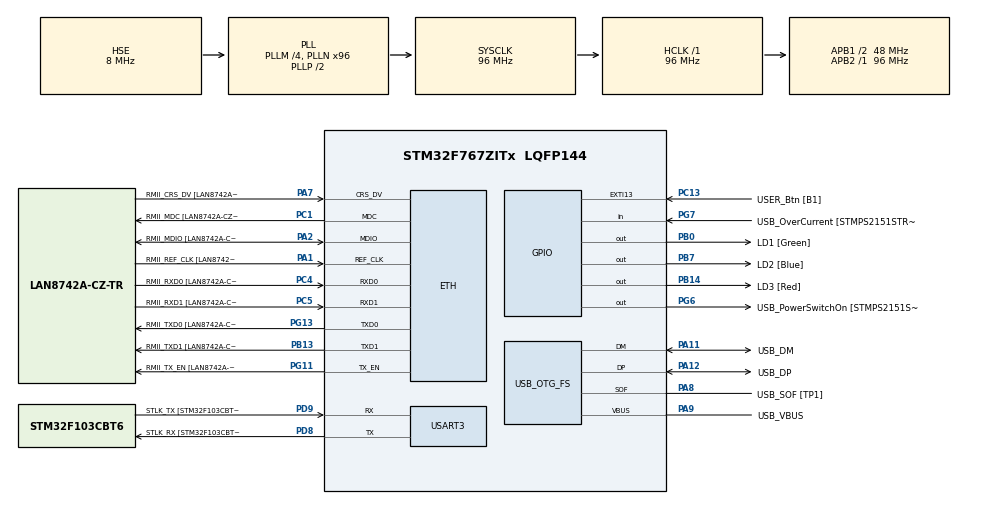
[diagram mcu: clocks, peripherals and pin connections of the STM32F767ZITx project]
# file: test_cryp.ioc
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ETH.MediaInterface=HAL_ETH_RMII_MODE
ETH.PHY_Name=LAN8742A_PHY_ADDRESS
ETH.PHY_Value=0
ETH.PhyAddress=0
Mcu.Family=STM32F7
Mcu.Name=STM32F767ZITx
Mcu.Package=LQFP144
NVIC.PriorityGroup=NVIC_PRIORITYGROUP_4
PA1.GPIO_Label=RMII_REF_CLK [LAN8742A-CZ-TR_REFCLK0]
PA1.Mode=RMII
PA1.Signal=ETH_REF_CLK
PA10.GPIO_Label=USB_ID
PA10.Signal=USB_OTG_FS_ID
PA11.GPIO_Label=USB_DM
PA11.Mode=Device_Only
PA11.Signal=USB_OTG_FS_DM
PA12.GPIO_Label=USB_DP
PA12.Mode=Device_Only
PA12.Signal=USB_OTG_FS_DP
PA13.GPIO_Label=TMS
PA13.Mode=Serial_Wire
PA13.Signal=SYS_JTMS-SWDIO
PA14.GPIO_Label=TCK
PA14.Mode=Serial_Wire
PA14.Signal=SYS_JTCK-SWCLK
PA2.GPIO_Label=RMII_MDIO [LAN8742A-CZ-TR_MDIO]
PA2.Mode=RMII
PA2.Signal=ETH_MDIO
PA7.GPIO_Label=RMII_CRS_DV [LAN8742A-CZ-TR_CRS_DV]
PA7.Mode=RMII
PA7.Signal=ETH_CRS_DV
PA8.GPIO_Label=USB_SOF [TP1]
PA8.Mode=Activate_SOF_FS
PA8.Signal=USB_OTG_FS_SOF
PA9.GPIO_Label=USB_VBUS
PA9.Mode=Activate_VBUS
PA9.Signal=USB_OTG_FS_VBUS
PB0.GPIO_Label=LD1 [Green]
PB0.Signal=GPIO_Output
PB13.GPIO_Label=RMII_TXD1 [LAN8742A-CZ-TR_TXD1]
PB13.Mode=RMII
PB13.Signal=ETH_TXD1
PB14.GPIO_Label=LD3 [Red]
PB14.Signal=GPIO_Output
PB3.GPIO_Label=SWO
PB3.Signal=SYS_JTDO-SWO
PB7.GPIO_Label=LD2 [Blue]
PB7.Signal=GPIO_Output
PC1.GPIO_Label=RMII_MDC [LAN8742A-CZ-TR_MDC]
PC1.Mode=RMII
PC1.Signal=ETH_MDC
PC13.GPIO_Label=USER_Btn [B1]
PC13.Signal=GPXTI13
PC14/OSC32_IN.Mode=LSE-External-Oscillator
PC14/OSC32_IN.Signal=RCC_OSC32_IN
PC15/OSC32_OUT.Mode=LSE-External-Oscillator
PC15/OSC32_OUT.Signal=RCC_OSC32_OUT
PC4.GPIO_Label=RMII_RXD0 [LAN8742A-CZ-TR_RXD0]
PC4.Mode=RMII
PC4.Signal=ETH_RXD0
PC5.GPIO_Label=RMII_RXD1 [LAN8742A-CZ-TR_RXD1]
PC5.Mode=RMII
PC5.Signal=ETH_RXD1
PD8.GPIO_Label=STLK_RX [STM32F103CBT6_PA3]
PD8.Mode=Asynchronous
PD8.Signal=USART3_TX
PD9.GPIO_Label=STLK_TX [STM32F103CBT6_PA2]
PD9.Mode=Asynchronous
PD9.Signal=USART3_RX
PG11.GPIO_Label=RMII_TX_EN [LAN8742A-CZ-TR_TXEN]
PG11.Mode=RMII
PG11.Signal=ETH_TX_EN
PG13.GPIO_Label=RMII_TXD0 [LAN8742A-CZ-TR_TXD0]
PG13.Mode=RMII
PG13.Signal=ETH_TXD0
PG6.GPIO_Label=USB_PowerSwitchOn [STMPS2151STR_EN]
PG6.Signal=GPIO_Output
PG7.GPIO_Label=USB_OverCurrent [STMPS2151STR_FAULT]
PG7.Signal=GPIO_Input
PH0/OSC_IN.GPIO_Label=MCO [STM32F103CBT6_PA8]
PH0/OSC_IN.Mode=HSE-External-Clock-Source
PH0/OSC_IN.Signal=RCC_OSC_IN
PH1/OSC_OUT.Mode=HSE-External-Clock-Source
PH1/OSC_OUT.Signal=RCC_OSC_OUT
ProjectManager.HeapSize=0x200
ProjectManager.StackSize=0x400
ProjectManager.TargetToolchain=STM32CubeIDE
RCC.48MHZClocksFreq_Value=24000000
RCC.AHBFreq_Value=96000000
RCC.APB1CLKDivider=RCC_HCLK_DIV2
RCC.APB1Freq_Value=48000000
RCC.APB1TimFreq_Value=96000000
RCC.APB2Freq_Value=96000000
RCC.APB2TimFreq_Value=96000000
RCC.CortexFreq_Value=96000000
RCC.HCLKFreq_Value=96000000
RCC.HSE_VALUE=8000000
RCC.HSI_VALUE=16000000
RCC.PLLM=4
RCC.PLLMUL=RCC_PLL_MUL9
RCC.PLLN=96
RCC.PLLQ=4
RCC.PRESCALERUSB=RCC_USBCLKSOURCE_PLL_DIV1_5
RCC.SYSCLKFreq_VALUE=96000000
RCC.SYSCLKSource=RCC_SYSCLKSOURCE_PLLCLK
RCC.SYSCLKSourceVirtual=RCC_SYSCLKSOURCE_PLLCLK
RCC.USBFreq_Value=48000000
RCC.VCOOutputFreq_Value=192000000
USART3.VirtualMode-Asynchronous=VM_ASYNC
USB_OTG_FS.VirtualMode=Device_Only
VP_CRC_VS_CRC.Mode=CRC_Activate
board=NUCLEO-F767ZI

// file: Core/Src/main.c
/* USER CODE BEGIN Header */
/**
  ******************************************************************************
  * @file           : main.c
  * @brief          : Main program body
  ******************************************************************************
  * @attention
  *
  * Copyright (c) 2024 STMicroelectronics.
  * All rights reserved.
  *
  * This software is licensed under terms that can be found in the LICENSE file
  * in the root directory of this software component.
  * If no LICENSE file comes with this software, it is provided AS-IS.
  *
  ******************************************************************************
  */
/* USER CODE END Header */
#include "crypto.h"
#include "main.h"
#include "string.h"

#if defined ( __ICCARM__ ) /*!< IAR Compiler */
#pragma location=0x2007c000
ETH_DMADescTypeDef  DMARxDscrTab[ETH_RX_DESC_CNT]; /* Ethernet Rx DMA Descriptors */
#pragma location=0x2007c0a0
ETH_DMADescTypeDef  DMATxDscrTab[ETH_TX_DESC_CNT]; /* Ethernet Tx DMA Descriptors */

#elif defined ( __CC_ARM )  /* MDK ARM Compiler */

__attribute__((at(0x2007c000))) ETH_DMADescTypeDef  DMARxDscrTab[ETH_RX_DESC_CNT]; /* Ethernet Rx DMA Descriptors */
__attribute__((at(0x2007c0a0))) ETH_DMADescTypeDef  DMATxDscrTab[ETH_TX_DESC_CNT]; /* Ethernet Tx DMA Descriptors */

#elif defined ( __GNUC__ ) /* GNU Compiler */

ETH_DMADescTypeDef DMARxDscrTab[ETH_RX_DESC_CNT] __attribute__((section(".RxDecripSection"))); /* Ethernet Rx DMA Descriptors */
ETH_DMADescTypeDef DMATxDscrTab[ETH_TX_DESC_CNT] __attribute__((section(".TxDecripSection")));   /* Ethernet Tx DMA Descriptors */
#endif

ETH_TxPacketConfig TxConfig;

CRC_HandleTypeDef hcrc;

ETH_HandleTypeDef heth;

UART_HandleTypeDef huart3;

PCD_HandleTypeDef hpcd_USB_OTG_FS;

/* USER CODE BEGIN PV */
typedef enum {FAILED = 0, PASSED = !FAILED} TestStatus;
/* Private define ------------------------------------------------------------*/
/* NIST vectors examples for CCM are taken from:
	"Recommendation for Block Cipher Modes of Operation:
	The CCM Mode for Authentication and Confidentiality"
	Available at:
	http://csrc.nist.gov/publications/nistpubs/800-38C/SP800-38C_updated-July20_2007.pdf
	base url:
	http://csrc.nist.gov/publications/PubsSPs.html
*/

/* length of NIST tag test vector of example */
#define TAG_LENGTH	4
/* length of NIST plain text test vector of example */
#define PLAINTEXT_LENGTH	4
/* length of NIST cipher text test vector of example */
#define CIPHER_TEXT_LENGTH	PLAINTEXT_LENGTH + TAG_LENGTH

/* Private macro -------------------------------------------------------------*/
/* Private variables ---------------------------------------------------------*/

/* Header message, will be authenticated but not encrypted */
const uint8_t HeaderMessage[] =
{
  0x00,0x01,0x02,0x03,0x04,0x05,0x06,0x07
};

uint32_t HeaderLength = sizeof (HeaderMessage) ;

/* string length only, without '\0' end of string marker */

/* Payload message, will be authenticated and encrypted */
const uint8_t InputMessage[] =
{
  0x20,0x21,0x22,0x23
};

/* string length only, without '\0' end of string marker */
uint32_t InputLength = sizeof (InputMessage) ;

/* Key to be used for AES encryption/decryption */
uint8_t Key[CRL_AES128_KEY] =
{
  0x40,0x41,0x42,0x43,0x44,0x45,0x46,0x47,
  0x48,0x49,0x4a,0x4b,0x4c,0x4d,0x4e,0x4f
};

/* Initialization Vector, used only in non-ECB modes */
const uint8_t Expected_Ciphertext[CIPHER_TEXT_LENGTH] =
{
  0x71,0x61,0x02,0x5b,0x4d,0xac,0x25,0x5d
};

uint8_t IV[] =
 {
   0x10,0x11,0x12,0x13,0x14,0x15,0x16
 };

/* NIST example 1 ciphertext vector: in encryption we expect this vector as result */
/* Buffer to store the output data and the authentication TAG */
uint8_t OutputMessage[64];

/* Length of the Authentication TAG */
int32_t AuthenticationTAGLength = 0;

/* Size of the output data */
int32_t OutputMessageLength = 0;
/* USER CODE END PV */

void SystemClock_Config(void);
static void MX_GPIO_Init(void);
static void MX_ETH_Init(void);
static void MX_USART3_UART_Init(void);
static void MX_USB_OTG_FS_PCD_Init(void);
static void MX_CRC_Init(void);
/* USER CODE BEGIN PFP */
int32_t AES_CCM_Encrypt(uint8_t*  HeaderMessage,
                        uint32_t  HeaderMessageLength,
                        uint8_t*  InputMessage,
                        uint32_t  InputMessageLength,
                        uint8_t  *AES128_Key,
                        uint8_t  *InitializationVector,
                        uint32_t  IvLength,
                        uint8_t  *OutputMessage,
                        int32_t *OutputMessageLength,
                        int32_t *AuthenticationTAGLength
                        );

int32_t AES_CCM_Decrypt(uint8_t*  HeaderMessage,
                        uint32_t  HeaderMessageLength,
                        uint8_t*  InputMessage,
                        uint32_t  InputMessageLength,
                        uint8_t  *AES128_Key,
                        uint8_t  *InitializationVector,
                        uint32_t  IvLength,
                        uint8_t  *OutputMessage,
                        int32_t *OutputMessageLength,
                        int32_t  AuthenticationTAGLength);

TestStatus Buffercmp(const uint8_t* pBuffer,
                     uint8_t* pBuffer1,
                     uint16_t BufferLength);
/* USER CODE END PFP */

int main(void)
{

  /* USER CODE BEGIN 1 */
	  int32_t status = AES_SUCCESS;
  /* USER CODE END 1 */

  /* MCU Configuration--------------------------------------------------------*/

  /* Reset of all peripherals, Initializes the Flash interface and the Systick. */
  HAL_Init();

  /* Configure the system clock */
  SystemClock_Config();

  /* Initialize all configured peripherals */
  MX_GPIO_Init();
  MX_ETH_Init();
  MX_USART3_UART_Init();
  MX_USB_OTG_FS_PCD_Init();
  MX_CRC_Init();
  /* USER CODE BEGIN 2 */
  HAL_UART_Transmit(&huart3,"TEST\n",4,1000);
  uint8_t buffer[4];
  HAL_UART_Receive(&huart3,buffer,4,30000);
  /* Encrypt DATA with AES in CCM mode and generate authentication TAG */
   status = AES_CCM_Encrypt( (uint8_t *) HeaderMessage, HeaderLength , (uint8_t *) InputMessage,
                            InputLength, Key, IV, sizeof(IV), OutputMessage,
                          &OutputMessageLength, &AuthenticationTAGLength);
   if(status == AES_SUCCESS)
   {

     if (Buffercmp(Expected_Ciphertext, OutputMessage, CIPHER_TEXT_LENGTH) == PASSED)
     {
        /* add application traitment in case of AES CCM encryption is passed */
     }
     else
     {
       /* Turn off the green led in case of AES CCM encryption is failed */
       HAL_GPIO_WritePin(GPIOA, GPIO_PIN_5, GPIO_PIN_RESET);
       Error_Handler();

     }
      }
   else
   {

       /* In case of encryption/decryption not success possible values of status:
      * AES_ERR_BAD_OPERATION, AES_ERR_BAD_CONTEXT, AES_ERR_BAD_PARAMETER
      */

       /* Turn off the green led in case of encryption/decryption not success */
       HAL_GPIO_WritePin(GPIOA, GPIO_PIN_5, GPIO_PIN_RESET);
       Error_Handler();

   }

     /* Decrypt DATA with AES in CCM mode and check the authentication TAG */
     status = AES_CCM_Decrypt( (uint8_t *) HeaderMessage, sizeof(HeaderMessage), (uint8_t *) OutputMessage,
                              OutputMessageLength, Key, IV, sizeof(IV), OutputMessage,
                            &OutputMessageLength, AuthenticationTAGLength);
     if(status == AUTHENTICATION_SUCCESSFUL)
     {
       /* Add application traitment in case of AES CCM authentication is successful */
     }
     else
     {
      /*  In case of AES CCM authentication is failed possible values
        *  of status:
        * AES_ERR_BAD_OPERATION, AES_ERR_BAD_CONTEXT, AES_ERR_BAD_PARAMETER,
        * AUTHENTICATION_FAILED
        */

       /* Turn off the green led in case of AES CCM authentication is failed */
       HAL_GPIO_WritePin(GPIOA, GPIO_PIN_5, GPIO_PIN_RESET);
       Error_Handler();

     }

   /* Turn on the green led in an infinite loop in case of AES CCM operations are succssfuls*/
   HAL_GPIO_WritePin(GPIOA, GPIO_PIN_5, GPIO_PIN_SET);
  /* USER CODE END 2 */

  /* Infinite loop */
  while (1)
  {

  }
}

void SystemClock_Config(void)
{
  RCC_OscInitTypeDef RCC_OscInitStruct = {0};
  RCC_ClkInitTypeDef RCC_ClkInitStruct = {0};

  /** Configure LSE Drive Capability
  */
  HAL_PWR_EnableBkUpAccess();

  /** Configure the main internal regulator output voltage
  */
  __HAL_RCC_PWR_CLK_ENABLE();
  __HAL_PWR_VOLTAGESCALING_CONFIG(PWR_REGULATOR_VOLTAGE_SCALE3);

  /** Initializes the RCC Oscillators according to the specified parameters
  * in the RCC_OscInitTypeDef structure.
  */
  RCC_OscInitStruct.OscillatorType = RCC_OSCILLATORTYPE_HSE;
  RCC_OscInitStruct.HSEState = RCC_HSE_BYPASS;
  RCC_OscInitStruct.PLL.PLLState = RCC_PLL_ON;
  RCC_OscInitStruct.PLL.PLLSource = RCC_PLLSOURCE_HSE;
  RCC_OscInitStruct.PLL.PLLM = 4;
  RCC_OscInitStruct.PLL.PLLN = 96;
  RCC_OscInitStruct.PLL.PLLP = RCC_PLLP_DIV2;
  RCC_OscInitStruct.PLL.PLLQ = 4;
  RCC_OscInitStruct.PLL.PLLR = 2;
  if (HAL_RCC_OscConfig(&RCC_OscInitStruct) != HAL_OK)
  {
    Error_Handler();
  }

  /** Activate the Over-Drive mode
  */
  if (HAL_PWREx_EnableOverDrive() != HAL_OK)
  {
    Error_Handler();
  }

  /** Initializes the CPU, AHB and APB buses clocks
  */
  RCC_ClkInitStruct.ClockType = RCC_CLOCKTYPE_HCLK|RCC_CLOCKTYPE_SYSCLK
                              |RCC_CLOCKTYPE_PCLK1|RCC_CLOCKTYPE_PCLK2;
  RCC_ClkInitStruct.SYSCLKSource = RCC_SYSCLKSOURCE_PLLCLK;
  RCC_ClkInitStruct.AHBCLKDivider = RCC_SYSCLK_DIV1;
  RCC_ClkInitStruct.APB1CLKDivider = RCC_HCLK_DIV2;
  RCC_ClkInitStruct.APB2CLKDivider = RCC_HCLK_DIV1;

  if (HAL_RCC_ClockConfig(&RCC_ClkInitStruct, FLASH_LATENCY_3) != HAL_OK)
  {
    Error_Handler();
  }
}

static void MX_CRC_Init(void)
{

  hcrc.Instance = CRC;
  hcrc.Init.DefaultPolynomialUse = DEFAULT_POLYNOMIAL_ENABLE;
  hcrc.Init.DefaultInitValueUse = DEFAULT_INIT_VALUE_ENABLE;
  hcrc.Init.InputDataInversionMode = CRC_INPUTDATA_INVERSION_NONE;
  hcrc.Init.OutputDataInversionMode = CRC_OUTPUTDATA_INVERSION_DISABLE;
  hcrc.InputDataFormat = CRC_INPUTDATA_FORMAT_BYTES;
  if (HAL_CRC_Init(&hcrc) != HAL_OK)
  {
    Error_Handler();
  }

}

static void MX_ETH_Init(void)
{

   static uint8_t MACAddr[6];

  heth.Instance = ETH;
  MACAddr[0] = 0x00;
  MACAddr[1] = 0x80;
  MACAddr[2] = 0xE1;
  MACAddr[3] = 0x00;
  MACAddr[4] = 0x00;
  MACAddr[5] = 0x00;
  heth.Init.MACAddr = &MACAddr[0];
  heth.Init.MediaInterface = HAL_ETH_RMII_MODE;
  heth.Init.TxDesc = DMATxDscrTab;
  heth.Init.RxDesc = DMARxDscrTab;
  heth.Init.RxBuffLen = 1524;

  if (HAL_ETH_Init(&heth) != HAL_OK)
  {
    Error_Handler();
  }

  memset(&TxConfig, 0 , sizeof(ETH_TxPacketConfig));
  TxConfig.Attributes = ETH_TX_PACKETS_FEATURES_CSUM | ETH_TX_PACKETS_FEATURES_CRCPAD;
  TxConfig.ChecksumCtrl = ETH_CHECKSUM_IPHDR_PAYLOAD_INSERT_PHDR_CALC;
  TxConfig.CRCPadCtrl = ETH_CRC_PAD_INSERT;

}

static void MX_USART3_UART_Init(void)
{

  huart3.Instance = USART3;
  huart3.Init.BaudRate = 115200;
  huart3.Init.WordLength = UART_WORDLENGTH_8B;
  huart3.Init.StopBits = UART_STOPBITS_1;
  huart3.Init.Parity = UART_PARITY_NONE;
  huart3.Init.Mode = UART_MODE_TX_RX;
  huart3.Init.HwFlowCtl = UART_HWCONTROL_NONE;
  huart3.Init.OverSampling = UART_OVERSAMPLING_16;
  huart3.Init.OneBitSampling = UART_ONE_BIT_SAMPLE_DISABLE;
  huart3.AdvancedInit.AdvFeatureInit = UART_ADVFEATURE_NO_INIT;
  if (HAL_UART_Init(&huart3) != HAL_OK)
  {
    Error_Handler();
  }

}

static void MX_USB_OTG_FS_PCD_Init(void)
{

  hpcd_USB_OTG_FS.Instance = USB_OTG_FS;
  hpcd_USB_OTG_FS.Init.dev_endpoints = 6;
  hpcd_USB_OTG_FS.Init.speed = PCD_SPEED_FULL;
  hpcd_USB_OTG_FS.Init.dma_enable = DISABLE;
  hpcd_USB_OTG_FS.Init.phy_itface = PCD_PHY_EMBEDDED;
  hpcd_USB_OTG_FS.Init.Sof_enable = ENABLE;
  hpcd_USB_OTG_FS.Init.low_power_enable = DISABLE;
  hpcd_USB_OTG_FS.Init.lpm_enable = DISABLE;
  hpcd_USB_OTG_FS.Init.vbus_sensing_enable = ENABLE;
  hpcd_USB_OTG_FS.Init.use_dedicated_ep1 = DISABLE;
  if (HAL_PCD_Init(&hpcd_USB_OTG_FS) != HAL_OK)
  {
    Error_Handler();
  }

}

static void MX_GPIO_Init(void)
{
  GPIO_InitTypeDef GPIO_InitStruct = {0};

  /* GPIO Ports Clock Enable */
  __HAL_RCC_GPIOC_CLK_ENABLE();
  __HAL_RCC_GPIOH_CLK_ENABLE();
  __HAL_RCC_GPIOA_CLK_ENABLE();
  __HAL_RCC_GPIOB_CLK_ENABLE();
  __HAL_RCC_GPIOD_CLK_ENABLE();
  __HAL_RCC_GPIOG_CLK_ENABLE();

  /*Configure GPIO pin Output Level */
  HAL_GPIO_WritePin(GPIOB, LD1_Pin|LD3_Pin|LD2_Pin, GPIO_PIN_RESET);

  /*Configure GPIO pin Output Level */
  HAL_GPIO_WritePin(USB_PowerSwitchOn_GPIO_Port, USB_PowerSwitchOn_Pin, GPIO_PIN_RESET);

  /*Configure GPIO pin : USER_Btn_Pin */
  GPIO_InitStruct.Pin = USER_Btn_Pin;
  GPIO_InitStruct.Mode = GPIO_MODE_IT_RISING;
  GPIO_InitStruct.Pull = GPIO_NOPULL;
  HAL_GPIO_Init(USER_Btn_GPIO_Port, &GPIO_InitStruct);

  /*Configure GPIO pins : LD1_Pin LD3_Pin LD2_Pin */
  GPIO_InitStruct.Pin = LD1_Pin|LD3_Pin|LD2_Pin;
  GPIO_InitStruct.Mode = GPIO_MODE_OUTPUT_PP;
  GPIO_InitStruct.Pull = GPIO_NOPULL;
  GPIO_InitStruct.Speed = GPIO_SPEED_FREQ_LOW;
  HAL_GPIO_Init(GPIOB, &GPIO_InitStruct);

  /*Configure GPIO pin : USB_PowerSwitchOn_Pin */
  GPIO_InitStruct.Pin = USB_PowerSwitchOn_Pin;
  GPIO_InitStruct.Mode = GPIO_MODE_OUTPUT_PP;
  GPIO_InitStruct.Pull = GPIO_NOPULL;
  GPIO_InitStruct.Speed = GPIO_SPEED_FREQ_LOW;
  HAL_GPIO_Init(USB_PowerSwitchOn_GPIO_Port, &GPIO_InitStruct);

  /*Configure GPIO pin : USB_OverCurrent_Pin */
  GPIO_InitStruct.Pin = USB_OverCurrent_Pin;
  GPIO_InitStruct.Mode = GPIO_MODE_INPUT;
  GPIO_InitStruct.Pull = GPIO_NOPULL;
  HAL_GPIO_Init(USB_OverCurrent_GPIO_Port, &GPIO_InitStruct);

}

/* USER CODE BEGIN 4 */
/**
  * @brief  AES CCM Authenticated Encryption example.
  * @param  HeaderMessage: pointer to the header message. It will be authenticated but not encrypted.
  * @param  HeaderMessageLength: header message length in byte.
  * @param  InputMessage: pointer to input message to be encrypted.
  * @param  InputMessageLength: input data message length in byte.
  * @param  AES128_Key: pointer to the AES key to be used in the operation
  * @param  InitializationVector: pointer to the Initialization Vector (IV)
  * @param  IvLength: IV length in bytes.
  * @param  OutputMessage: pointer to output parameter that will handle the encrypted message and TAG
  * @param  OutputMessageLength: pointer to encrypted message length.
  * @param  AuthenticationTAGLength: authentication TAG length.
  * @retval error status: can be AES_SUCCESS if success or one of
  *         AES_ERR_BAD_OPERATION, AES_ERR_BAD_CONTEXT
  *         AES_ERR_BAD_PARAMETER if error occured.
  */
int32_t AES_CCM_Encrypt(uint8_t*  HeaderMessage,
                        uint32_t  HeaderMessageLength,
                        uint8_t*  InputMessage,
                        uint32_t  InputMessageLength,
                        uint8_t  *AES128_Key,
                        uint8_t  *InitializationVector,
                        uint32_t  IvLength,
                        uint8_t  *OutputMessage,
                        int32_t *OutputMessageLength,
                        int32_t *AuthenticationTAGLength
                        )
{
  AESCCMctx_stt AESctx;

  uint32_t error_status = AES_SUCCESS;

  /* Set flag field to default value */
  AESctx.mFlags = E_SK_DEFAULT;

  /* Set key size to 16 (corresponding to AES-128) */
  AESctx.mKeySize = 16;

  /* Set nonce size field to IvLength, note that valid values are 7,8,9,10,11,12,13*/
  AESctx.mNonceSize = IvLength;

  /* Size of returned authentication TAG */
  AESctx.mTagSize = 4;

  /* Set the size of the header */
  AESctx.mAssDataSize = HeaderMessageLength;

  /* Set the size of thepayload */
  AESctx.mPayloadSize = InputMessageLength;

  /* Initialize the operation, by passing the key and IV */
  error_status = AES_CCM_Encrypt_Init(&AESctx, AES128_Key, InitializationVector );

  /* check for initialization errors */
  if(error_status == AES_SUCCESS)
  {
    /* Process Header */
    error_status = AES_CCM_Header_Append(&AESctx,
                                         HeaderMessage,
                                         HeaderMessageLength);
    if(error_status == AES_SUCCESS)
    {
      /* Encrypt Data */
      error_status = AES_CCM_Encrypt_Append(&AESctx,
                                            InputMessage,
                                            InputMessageLength,
                                            OutputMessage,
                                            OutputMessageLength);

      if(error_status == AES_SUCCESS)
      {
        /* Do the Finalization, write the TAG at the end of the encrypted message */
        error_status = AES_CCM_Encrypt_Finish(&AESctx, OutputMessage + *OutputMessageLength, AuthenticationTAGLength);
      }
    }
  }

  return error_status;
}

/**
  * @brief  AES CCM Authenticated Decryption example.
  * @param  HeaderMessage: pointer to the header message. It will be authenticated but not Decrypted.
  * @param  HeaderMessageLength: header message length in byte.
  * @param  InputMessage: pointer to input message to be Decrypted.
  * @param  InputMessageLength: input data message length in byte.
  * @param  AES128_Key: pointer to the AES key to be used in the operation
  * @param  InitializationVector: pointer to the Initialization Vector (IV)
  * @param  IvLength: IV length in bytes.
  * @param  OutputMessage: pointer to output parameter that will handle the Decrypted message and TAG
  * @param  OutputMessageLength: pointer to Decrypted message length.
  * @param  AuthenticationTAGLength: authentication TAG length.
  * @retval error status: can be AUTHENTICATION_SUCCESSFUL if success or one of
  *         AES_ERR_BAD_OPERATION, AES_ERR_BAD_CONTEXT
  *         AES_ERR_BAD_PARAMETER, AUTHENTICATION_FAILED if error occured.
  */
int32_t AES_CCM_Decrypt(uint8_t*  HeaderMessage,
                        uint32_t  HeaderMessageLength,
                        uint8_t*  InputMessage,
                        uint32_t  InputMessageLength,
                        uint8_t  *AES128_Key,
                        uint8_t  *InitializationVector,
                        uint32_t  IvLength,
                        uint8_t  *OutputMessage,
                        int32_t *OutputMessageLength,
                        int32_t  AuthenticationTAGLength
                        )
{
  AESCCMctx_stt AESctx;

  uint32_t error_status = AES_SUCCESS;

  /* Set flag field to default value */
  AESctx.mFlags = E_SK_DEFAULT;

  /* Set key size to 16 (corresponding to AES-128) */
  AESctx.mKeySize = 16;

  /* Set nonce size field to IvLength, note that valid values are 7,8,9,10,11,12,13*/
  AESctx.mNonceSize = IvLength;

  /* Size of returned authentication TAG */
  AESctx.mTagSize = 4;

  /* Set the size of the header */
  AESctx.mAssDataSize = HeaderMessageLength;

  /* Set the size of thepayload */
  AESctx.mPayloadSize = InputMessageLength;

  /* Set the pointer to the TAG to be checked */
  AESctx.pmTag = InputMessage + InputMessageLength;

  /* Size of returned authentication TAG */
  AESctx.mTagSize = AuthenticationTAGLength;

  /* Initialize the operation, by passing the key and IV */
  error_status = AES_CCM_Decrypt_Init(&AESctx, AES128_Key, InitializationVector );

  /* check for initialization errors */
  if(error_status == AES_SUCCESS)
  {
    /* Process Header */
    error_status = AES_CCM_Header_Append(&AESctx,
                                         HeaderMessage,
                                         HeaderMessageLength);
    if(error_status == AES_SUCCESS)
    {
      /* Decrypt Data */
      error_status = AES_CCM_Decrypt_Append(&AESctx,
                                            InputMessage,
                                            InputMessageLength,
                                            OutputMessage,
                                            OutputMessageLength);

      if(error_status == AES_SUCCESS)
      {
        /* Do the Finalization, check the authentication TAG*/
        error_status = AES_CCM_Decrypt_Finish(&AESctx, NULL, &AuthenticationTAGLength);
      }
    }
  }

  return error_status;
}

TestStatus Buffercmp(const uint8_t* pBuffer, uint8_t* pBuffer1, uint16_t BufferLength)
{
  while (BufferLength--)
  {
    if (*pBuffer != *pBuffer1)
    {
      return FAILED;
    }

    pBuffer++;
    pBuffer1++;
  }

  return PASSED;
}
/* USER CODE END 4 */

void Error_Handler(void)
{
  __disable_irq();
  while (1)
  {
  }
}
